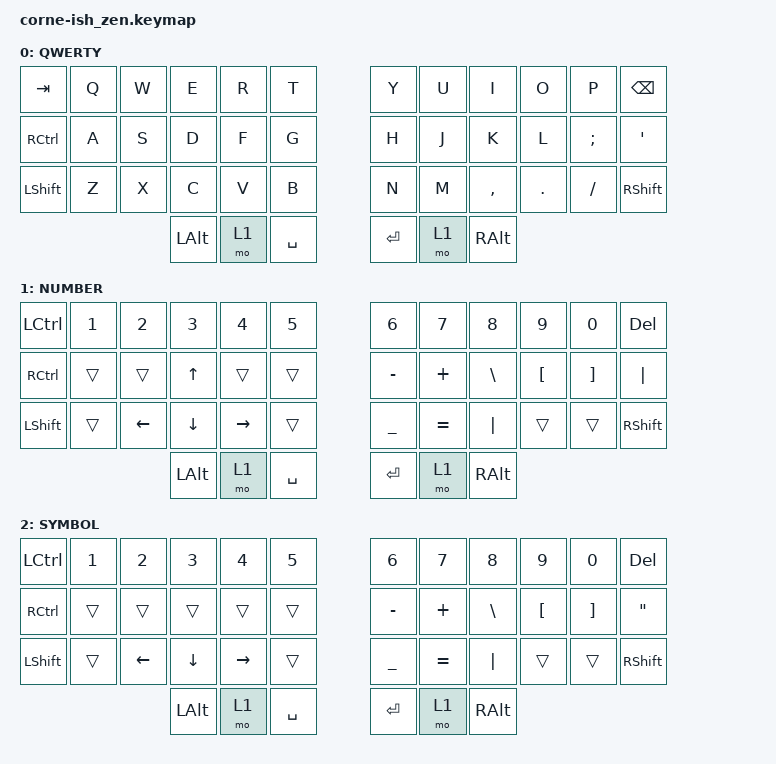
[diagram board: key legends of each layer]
/*
*
* Copyright (c) 2021 Darryl deHaan
* SPDX-License-Identifier: MIT
*
*/

#include <behaviors.dtsi>
#include <dt-bindings/zmk/keys.h>
#include <dt-bindings/zmk/bt.h>

/ {
        keymap {
                compatible = "zmk,keymap";

                default_layer {
                        label = "QWERTY";
// -----------------------------------------------------------------------------------------
// |  TAB  |  Q  |  W  |  E  |  R  |  T  |   |  Y  |  U   |  I  |  O  |  P  | BKSP   |
// | CTRL  |  A  |  S  |  D  |  F  |  G  |   |  H  |  J   |  K  |  L  |  ;  |  '     |
// | SHIFT |  Z  |  X  |  C  |  V  |  B  |   |  N  |  M   |  ,  |  .  |  /  | SHIFT  |
//                     | GUI | LWR | SPC |   | ENT | RSE  | ALT |
                        bindings = <
   &kp TAB   &kp Q &kp W &kp E &kp R &kp T     &kp Y &kp U  &kp I     &kp O   &kp P    &kp BSPC
   &kp RCTRL &kp A &kp S &kp D &kp F &kp G     &kp H &kp J  &kp K     &kp L   &kp SEMI &kp SQT
   &kp LSHFT &kp Z &kp X &kp C &kp V &kp B     &kp N &kp M  &kp COMMA &kp DOT &kp FSLH &kp RSHFT
                  &kp LALT  &mo 1 &kp SPACE   &kp RET  &mo 1  &kp RALT
                        >;
                };
                lower_layer {
                        label = "NUMBER";
// -----------------------------------------------------------------------------------------
// |  ESC |  1  |  2  |  3  |  4  |  5  |   |  6  |  7  |  8  |  9  |  0  | DEL  |
// | CTRL |     |     |     |     |     |   |  -  |  +  |  \  |  [  |  ]  | PIPE  |
// | SHFT |     |     |     |     |     |   |  _  |  =  |     |     |     | SHIFT   |
//                    | GUI |     | SPC |   | ENT |     | ALT |
                        bindings = <
   &kp LCTRL  &kp N1       &kp N2         &kp N3      &kp N4       &kp N5                  &kp N6   &kp N7   &kp N8 &kp N9    &kp N0 &kp DEL
   &kp RCTRL  &trans       &trans         &kp UP      &trans &trans                          &kp MINUS &kp PLUS  &kp BSLH      &kp LBKT  &kp RBKT &kp PIPE
   &kp LSHFT  &trans       &kp LEFT     &kp DOWN     &kp RIGHT       &trans                  &kp UNDER &kp EQUAL   &kp PIPE    &trans    &trans  &kp RSHFT
                                                         &kp LALT  &mo 1 &kp SPACE    &kp RET &mo 1  &kp RALT
                        >;
                };

                raise_layer {
                        label = "SYMBOL";
// -----------------------------------------------------------------------------------------
// |  ESC |  1  |  2  |  3  |  4  |  5  |   |  6  |  7  |  8  |  9  |  0  | DEL  |
// | CTRL |     |     |     |     |     |   |  -  |  =  |  \  |  [  |  ]  | PIPE   |
// | SHFT |     |     |     |     |     |   |  _  |  +  |     |     |     |  ~   |
//                    | GUI |     | SPC |   | ENT |     | ALT |
                        bindings = <
   &kp LCTRL  &kp N1       &kp N2         &kp N3      &kp N4       &kp N5                  &kp N6   &kp N7   &kp N8 &kp N9    &kp N0 &kp DEL
   &kp RCTRL &trans   &trans &trans   &trans   &trans                                     &kp MINUS &kp PLUS  &kp BSLH        &kp LBKT  &kp RBKT &kp DQT
   &kp LSHFT  &trans       &kp LEFT     &kp DOWN     &kp RIGHT       &trans                  &kp UNDER &kp EQUAL   &kp PIPE    &trans    &trans  &kp RSHFT
                                                         &kp LALT  &mo 1 &kp SPACE    &kp RET &mo 1  &kp RALT
                        >;
                };
        };
};
